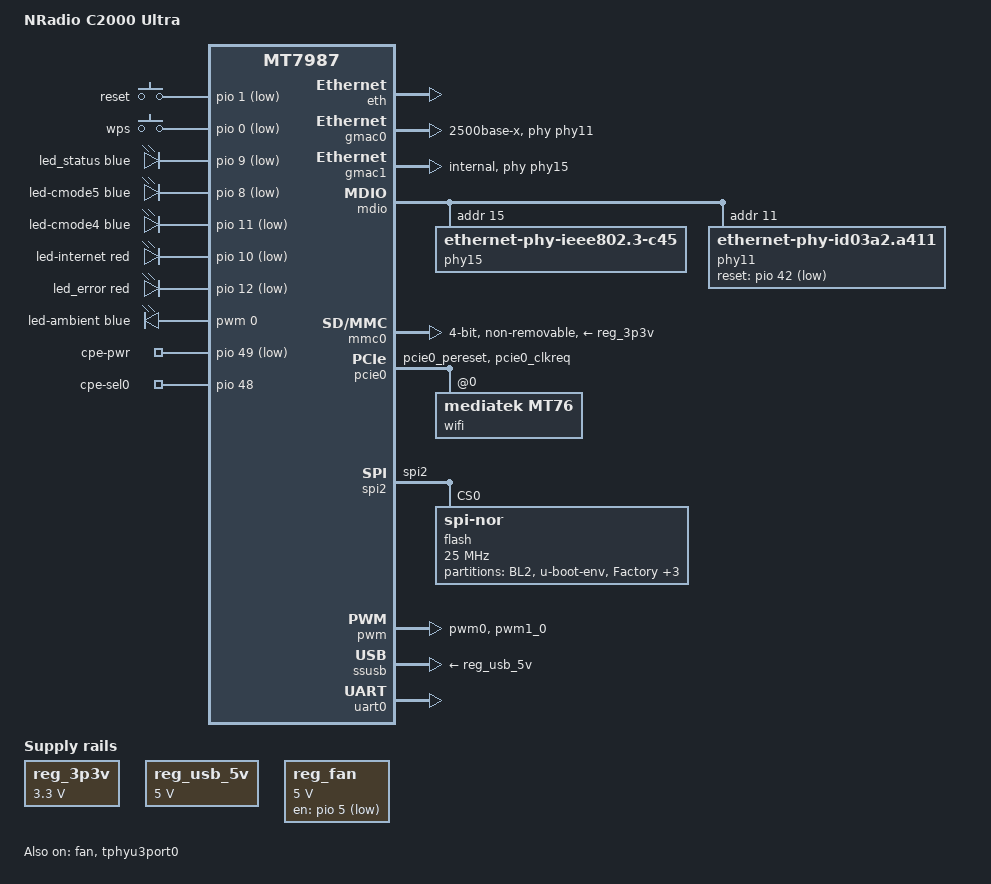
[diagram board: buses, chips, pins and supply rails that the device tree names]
// SPDX-License-Identifier: (GPL-2.0 OR MIT)
// NRadio C2000 Ultra on official OpenWrt (MT7987A + MT7992 BE5040 + MT5700M-CN).
// Hardware pinout, PCIe Wi-Fi reset, SPI2/SD pinmux, cooling fan power/PWM,
// Ethernet PHYs, and 5G modem GPIOs cross-verified against Factory & Mwrt DTBs.

/dts-v1/;
#include "mt7987a.dtsi"
#include <dt-bindings/gpio/gpio.h>
#include <dt-bindings/input/input.h>
#include <dt-bindings/leds/common.h>

/ {
	model = "NRadio C2000 Ultra";
	compatible = "nradio,c2000-ultra", "mediatek,mt7987a", "mediatek,mt7987";

	aliases {
		serial0 = &uart0;
		mmc0 = &mmc0;
		led-boot = &led_status;
		led-failsafe = &led_error;
		led-running = &led_status;
		led-upgrade = &led_status;
	};

	chosen {
		bootargs = "console=ttyS0,115200n1 earlycon=uart8250,mmio32,0x11000000 pci=pcie_bus_perf root=PARTLABEL=rootfs rootwait rootfstype=squashfs,f2fs";
		stdout-path = "serial0:115200n8";
	};

	gpio-keys {
		compatible = "gpio-keys";

		reset {
			label = "reset";
			linux,code = <KEY_RESTART>;
			gpios = <&pio 1 GPIO_ACTIVE_LOW>;
			debounce-interval = <10>;
		};

		wps {
			label = "wps";
			linux,code = <KEY_WPS_BUTTON>;
			gpios = <&pio 0 GPIO_ACTIVE_LOW>;
			debounce-interval = <10>;
		};
	};

	leds {
		compatible = "gpio-leds";

		led_status: led-status {
			color = <LED_COLOR_ID_BLUE>;
			function = LED_FUNCTION_STATUS;
			gpios = <&pio 9 GPIO_ACTIVE_LOW>;
			default-state = "on";
		};

		led-cmode5 {
			color = <LED_COLOR_ID_BLUE>;
			function = LED_FUNCTION_INDICATOR;
			function-enumerator = <0>;
			gpios = <&pio 8 GPIO_ACTIVE_LOW>;
		};

		led-cmode4 {
			color = <LED_COLOR_ID_BLUE>;
			function = LED_FUNCTION_INDICATOR;
			function-enumerator = <1>;
			gpios = <&pio 11 GPIO_ACTIVE_LOW>;
		};

		led-internet {
			color = <LED_COLOR_ID_RED>;
			function = LED_FUNCTION_WAN;
			gpios = <&pio 10 GPIO_ACTIVE_LOW>;
		};

		led_error: led-error {
			color = <LED_COLOR_ID_RED>;
			function = LED_FUNCTION_FAULT;
			gpios = <&pio 12 GPIO_ACTIVE_LOW>;
		};
	};

	pwm-leds {
		compatible = "pwm-leds";

		led-ambient {
			color = <LED_COLOR_ID_BLUE>;
			function = LED_FUNCTION_INDICATOR;
			function-enumerator = <2>;
			pwms = <&pwm 0 50000 0>;
			max-brightness = <255>;
			active-low;
			default-state = "on";
		};
	};

	reg_3p3v: regulator-3p3v {
		compatible = "regulator-fixed";
		regulator-name = "fixed-3.3V";
		regulator-min-microvolt = <3300000>;
		regulator-max-microvolt = <3300000>;
		regulator-boot-on;
		regulator-always-on;
	};

	reg_usb_5v: regulator-usb-5v {
		compatible = "regulator-fixed";
		regulator-name = "usb-5v";
		regulator-min-microvolt = <5000000>;
		regulator-max-microvolt = <5000000>;
		regulator-boot-on;
		regulator-always-on;
	};

	reg_fan: regulator-fan {
		compatible = "regulator-fixed";
		regulator-name = "fan";
		regulator-min-microvolt = <5000000>;
		regulator-max-microvolt = <5000000>;
		gpios = <&pio 5 GPIO_ACTIVE_HIGH>;
	};

	gpio_export {
		compatible = "gpio-export";
		#size-cells = <0>;

		cpepower {
			gpio-export,name = "cpe-pwr";
			gpio-export,output = <0>;
			gpios = <&pio 49 GPIO_ACTIVE_LOW>;
		};

		cpesel0 {
			gpio-export,name = "cpe-sel0";
			gpio-export,output = <0>;
			gpios = <&pio 48 GPIO_ACTIVE_HIGH>;
		};
	};
};

&cpu_trip_active_low {
	temperature = <65000>;
	hysteresis = <5000>;
};

&cpu_trip_active_med {
	temperature = <75000>;
	hysteresis = <5000>;
};

&cpu_trip_active_high {
	temperature = <85000>;
	hysteresis = <5000>;
};

&eth {
	status = "okay";
};

&gmac0 {
	phy-mode = "2500base-x";
	phy-handle = <&phy11>;
	status = "okay";
};

&gmac1 {
	phy-mode = "internal";
	phy-handle = <&phy15>;
	status = "okay";
};

&mdio {
	phy15: phy@f {
		compatible = "ethernet-phy-ieee802.3-c45";
		reg = <15>;
		phy-mode = "internal";
		pinctrl-names = "i2p5gbe-led";
		pinctrl-0 = <&i2p5gbe_led0_pins>;
	};

	phy11: phy@b {
		compatible = "ethernet-phy-id03a2.a411";
		reg = <11>;
		reset-gpios = <&pio 42 GPIO_ACTIVE_LOW>;
		reset-assert-us = <10000>;
		reset-deassert-us = <20000>;
		phy-mode = "2500base-x";
	};
};

&mmc0 {
	pinctrl-names = "default", "state_uhs";
	pinctrl-0 = <&sd_pins_default>;
	pinctrl-1 = <&sd_pins_uhs>;
	bus-width = <4>;
	max-frequency = <50000000>;
	cap-sd-highspeed;
	vmmc-supply = <&reg_3p3v>;
	vqmmc-supply = <&reg_3p3v>;
	non-removable;
	no-mmc;
	no-sdio;
	broken-cd;
	status = "okay";
};

&pcie0 {
	pinctrl-names = "default";
	pinctrl-0 = <&pcie0_1_pins>;
	wifi-reset-gpios = <&pio 38 GPIO_ACTIVE_LOW>;
	wifi-reset-msleep = <100>;
	status = "okay";

	pcie@0,0 {
		reg = <0x0000 0 0 0 0>;
		#address-cells = <3>;
		#size-cells = <2>;
		device_type = "pci";

		wifi@0,0 {
			compatible = "mediatek,mt76";
			reg = <0x0000 0 0 0 0>;
			#address-cells = <1>;
			#size-cells = <0>;
			nvmem-cells = <&eeprom_factory_0>;
			nvmem-cell-names = "eeprom";
			ieee80211-freq-limit = <2400000 2500000>,
					       <5170000 5835000>;
		};
	};
};

&pcie1 {
	status = "disabled";
};

&spi2 {
	pinctrl-names = "default";
	pinctrl-0 = <&spi2_c2ku_pins>;
	status = "okay";

	flash@0 {
		compatible = "jedec,spi-nor";
		reg = <0>;
		spi-max-frequency = <25000000>;

		partitions {
			compatible = "fixed-partitions";
			#address-cells = <1>;
			#size-cells = <1>;

			partition@0 {
				label = "BL2";
				reg = <0x0 0x40000>;
				read-only;
			};

			partition@40000 {
				label = "u-boot-env";
				reg = <0x40000 0x10000>;
			};

			partition@50000 {
				label = "Factory";
				reg = <0x50000 0x100000>;
				read-only;

				nvmem-layout {
					compatible = "fixed-layout";
					#address-cells = <1>;
					#size-cells = <1>;

					eeprom_factory_0: eeprom@0 {
						reg = <0x0 0x1e00>;
					};
				};
			};

			partition@150000 {
				label = "bdinfo";
				reg = <0x150000 0x80000>;
				read-only;
			};

			partition@1d0000 {
				label = "FIP";
				reg = <0x1d0000 0x100000>;
				read-only;
			};

			partition@2d0000 {
				// Keep the vendor image opaque to OpenWrt's MTD splitter.
				// This leaves the TF rootdisk as fstools' rootfs_data.
				label = "factory-firmware";
				reg = <0x2d0000 0x1d30000>;
				read-only;
			};
		};
	};
};

&fan {
	cooling-levels = <0 80 150 255>;
	fan-supply = <&reg_fan>;
	pwms = <&pwm 1 50000 0>;
	status = "okay";
};

&pwm {
	pinctrl-names = "default";
	pinctrl-0 = <&pwm_c2ku_pins>;
	status = "okay";
};

&pio {
	pcie0_1_pins: pcie0-pins-g1 {
		mux {
			function = "pcie";
			groups = "pcie0_pereset", "pcie0_clkreq";
		};
	};

	pwm_c2ku_pins: pwm-c2ku-pins {
		mux {
			function = "pwm";
			groups = "pwm0", "pwm1_0";
		};
	};

	spi2_c2ku_pins: spi2-c2ku-pins {
		mux {
			function = "spi";
			groups = "spi2";
		};
	};
};

&ssusb {
	vusb33-supply = <&reg_3p3v>;
	vbus-supply = <&reg_usb_5v>;
	status = "okay";
};

&tphyu3port0 {
	status = "okay";
};

&uart0 {
	pinctrl-names = "default";
	pinctrl-0 = <&uart0_pins>;
	status = "okay";
};
